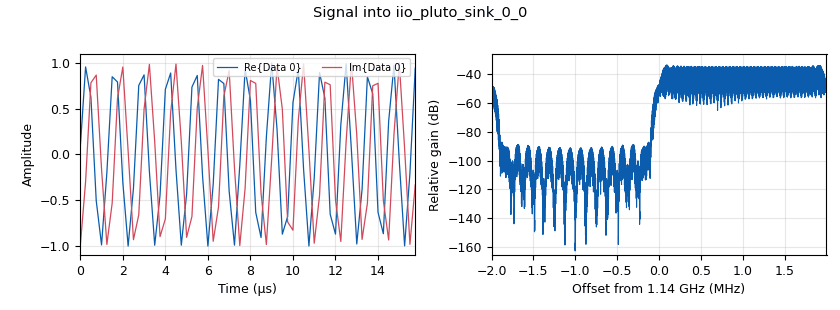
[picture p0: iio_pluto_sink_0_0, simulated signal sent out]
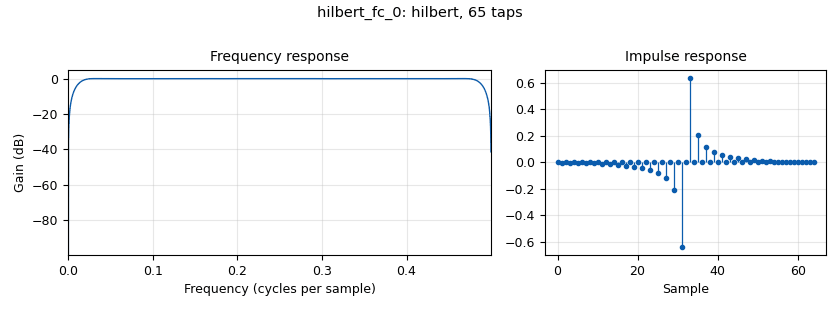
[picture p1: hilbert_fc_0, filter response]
options:
  parameters:
    author: Timon Petermann, Lisa Elsner
    copyright: Timon Petermann, Lisa Elsner
    generate_options: qt_gui
    id: chirp_radar_tx_rx
    output_language: python
    title: Chirp Radar
  states: {}

blocks:
- name: Max_Delta_Freq
  id: variable
  parameters:
    value: PRF*2*Max_Range*bw*1e8/(3e8)
  states: {}
- name: Max_Range
  id: variable
  parameters:
    value: 0.5*3e8/PRF
  states: {}
- name: Min_Delta_Freq
  id: variable
  parameters:
    value: PRF*2*R_resolution*bw*1e8/(3e8)
  states: {}
- name: PRF
  id: variable
  parameters:
    value: 5e3
  states: {}
- name: R_resolution
  id: variable
  parameters:
    value: (3e8)/(2*bw*1e8)
  states: {}
- name: bw
  id: variable
  parameters:
    value: '0.02'
  states: {}
- name: delay_fake
  id: variable_qtgui_range
  parameters:
    label: Calibration
    orient: Qt.Horizontal
    rangeType: int
    start: '0'
    step: '1'
    stop: int(10e6)
    value: '0'
  states: {}
- name: fft_size
  id: variable
  parameters:
    value: int(8192)
  states: {}
- name: samp_rate
  id: variable
  parameters:
    value: 4e6
  states: {}
- name: analog_sig_source_x_0
  id: analog_sig_source_x
  parameters:
    amp: '1'
    freq: PRF
    offset: '0'
    phase: '0'
    samp_rate: samp_rate
    type: float
    waveform: analog.GR_SAW_WAVE
  states: {}
- name: blocks_complex_to_real_0_0
  id: blocks_complex_to_real
  parameters: {}
  states: {}
- name: blocks_complex_to_real_0_0_0
  id: blocks_complex_to_real
  parameters: {}
  states: {}
- name: blocks_delay_0_0
  id: blocks_delay
  parameters:
    delay: delay_fake
    type: complex
  states: {}
- name: blocks_float_to_complex_0_0
  id: blocks_float_to_complex
  parameters: {}
  states: {}
- name: blocks_multiply_xx_0
  id: blocks_multiply_xx
  parameters:
    type: float
  states: {}
- name: blocks_stream_to_vector_0
  id: blocks_stream_to_vector
  parameters:
    num_items: fft_size
    type: float
  states: {}
- name: blocks_vco_f_0_0
  id: blocks_vco_f
  parameters:
    amplitude: '1'
    samp_rate: samp_rate
    sensitivity: int(bw*628000000)
  states: {}
- name: chirp_radar_max_freq_peak_detector_ff_0
  id: chirp_radar_max_freq_peak_detector_ff
  parameters:
    f_max: Max_Delta_Freq
    f_min: Min_Delta_Freq
    fft_size: fft_size
    sampling_rate: samp_rate
  states: {}
- name: chirp_radar_range_calc_ff_0
  id: chirp_radar_range_calc_ff
  parameters:
    bandwidth: bw*1e8
    chirp_period: 1/PRF
  states: {}
- name: hilbert_fc_0
  id: hilbert_fc
  parameters:
    num_taps: '64'
    win: firdes.WIN_HAMMING
  states: {}
- name: iio_pluto_sink_0_0
  id: iio_pluto_sink
  parameters:
    attenuation1: '0.0'
    auto_filter: 'True'
    bandwidth: int(samp_rate/2)
    buffer_size: int(1024*100)
    cyclic: 'False'
    frequency: '1140000000'
    samplerate: int(samp_rate)
  states: {}
- name: iio_pluto_source_0_0
  id: iio_pluto_source
  parameters:
    auto_filter: 'True'
    bandwidth: int(samp_rate/2)
    bbdc: 'True'
    buffer_size: int(1024*100)
    frequency: '900000000'
    gain1: '''slow_attack'''
    manual_gain1: '20'
    quadrature: 'True'
    rfdc: 'True'
    samplerate: int(samp_rate)
  states: {}
- name: qtgui_freq_sink_x_1_0
  id: qtgui_freq_sink_x
  parameters:
    bw: samp_rate
    fc: '0'
    fftsize: '16383'
    grid: 'True'
    name: '"Beat Singal (frequency)"'
    type: float
    wintype: firdes.WIN_BLACKMAN_hARRIS
  states: {}
- name: qtgui_time_sink_x_0
  id: qtgui_time_sink_x
  parameters:
    size: '60000'
    srate: samp_rate
    type: complex
    update_time: '5'
  states: {}
- name: qtgui_time_sink_x_0_0
  id: qtgui_time_sink_x
  parameters:
    autoscale: 'True'
    grid: 'True'
    name: '"Range"'
    size: '10'
    srate: samp_rate/fft_size
    type: float
    ylabel: Distance
  states: {}

connections:
- [analog_sig_source_x_0, '0', blocks_vco_f_0_0, '0']
- [blocks_complex_to_real_0_0, '0', blocks_float_to_complex_0_0, '1']
- [blocks_complex_to_real_0_0, '0', blocks_multiply_xx_0, '1']
- [blocks_complex_to_real_0_0_0, '0', blocks_float_to_complex_0_0, '0']
- [blocks_complex_to_real_0_0_0, '0', blocks_multiply_xx_0, '0']
- [blocks_delay_0_0, '0', blocks_complex_to_real_0_0_0, '0']
- [blocks_float_to_complex_0_0, '0', qtgui_time_sink_x_0, '0']
- [blocks_multiply_xx_0, '0', blocks_stream_to_vector_0, '0']
- [blocks_multiply_xx_0, '0', qtgui_freq_sink_x_1_0, '0']
- [blocks_stream_to_vector_0, '0', chirp_radar_max_freq_peak_detector_ff_0, '0']
- [blocks_vco_f_0_0, '0', hilbert_fc_0, '0']
- [chirp_radar_max_freq_peak_detector_ff_0, '0', chirp_radar_range_calc_ff_0, '0']
- [chirp_radar_range_calc_ff_0, '0', qtgui_time_sink_x_0_0, '0']
- [hilbert_fc_0, '0', blocks_delay_0_0, '0']
- [hilbert_fc_0, '0', iio_pluto_sink_0_0, '0']
- [iio_pluto_source_0_0, '0', blocks_complex_to_real_0_0, '0']

metadata:
  file_format: 1
